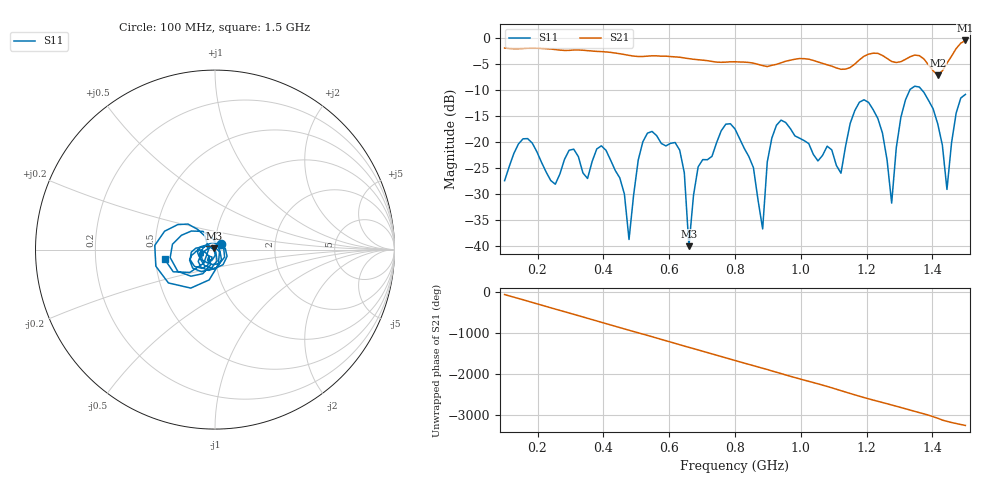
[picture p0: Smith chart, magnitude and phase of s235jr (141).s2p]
! NanoVNA-App
! Date: 2025-09-25 15:05:16
! Start: 100MHz Stop: 1,5GHz Points: 101
! S-Parameter data: F S11 S21 S12 S22
# Hz S RI R 50
!  Frequency  S11_Real  S11_Imag  S21_Real  S21_Imag  S12_Real  S12_Imag  S22_Real  S22_Imag
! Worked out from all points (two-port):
!   101 points, 100 MHz to 1.5 GHz, reference 50 ohm
!   highest |S21| = -0.51 dB at 1.5 GHz (marker M1); lowest = -7.2 dB at 1.416 GHz (marker M2)
!   |S21| within 3 dB of the highest: start of sweep to 491.2 MHz; 1.193 GHz to 1.251 GHz (57.52 MHz wide, 4.71 % of centre) (the widest 2 of 5)
!   lowest |S11| = -40.1 dB at 660 MHz (marker M3), VSWR 1.02, Z = 49.3 + j0.659 ohm
!   |S11| at or under -10 dB: start of sweep to 1.331 GHz; 1.367 GHz to end of sweep
!   S12 and S22 are empty: the file has one direction only
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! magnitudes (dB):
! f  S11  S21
! 100 MHz  -27.5  -2.0
! 156 MHz  -19.4  -2.0
! 338 MHz  -26.0  -2.4
! 408 MHz  -21.6  -2.7
! 478 MHz  -38.8  -3.4
! 520 MHz  -20.0  -3.6
! 576 MHz  -20.3  -3.5
! 632 MHz  -21.6  -3.7
! 660 MHz  -40.1  -4.0
! 688 MHz  -24.8  -4.2
! 800 MHz  -17.5  -4.6
! 884 MHz  -36.8  -5.3
! 898 MHz  -23.9  -5.5
! 926 MHz  -16.8  -5.1
! 1.038 GHz  -22.4  -4.3
! 1.122 GHz  -26.0  -6.1
! 1.206 GHz  -12.4  -3.1
! 1.276 GHz  -31.8  -4.6
! 1.332 GHz  -9.9  -3.6
! 1.416 GHz  -16.6  -7.2
! 1.444 GHz  -29.2  -4.9
! 1.5 GHz  -10.9  -0.5
